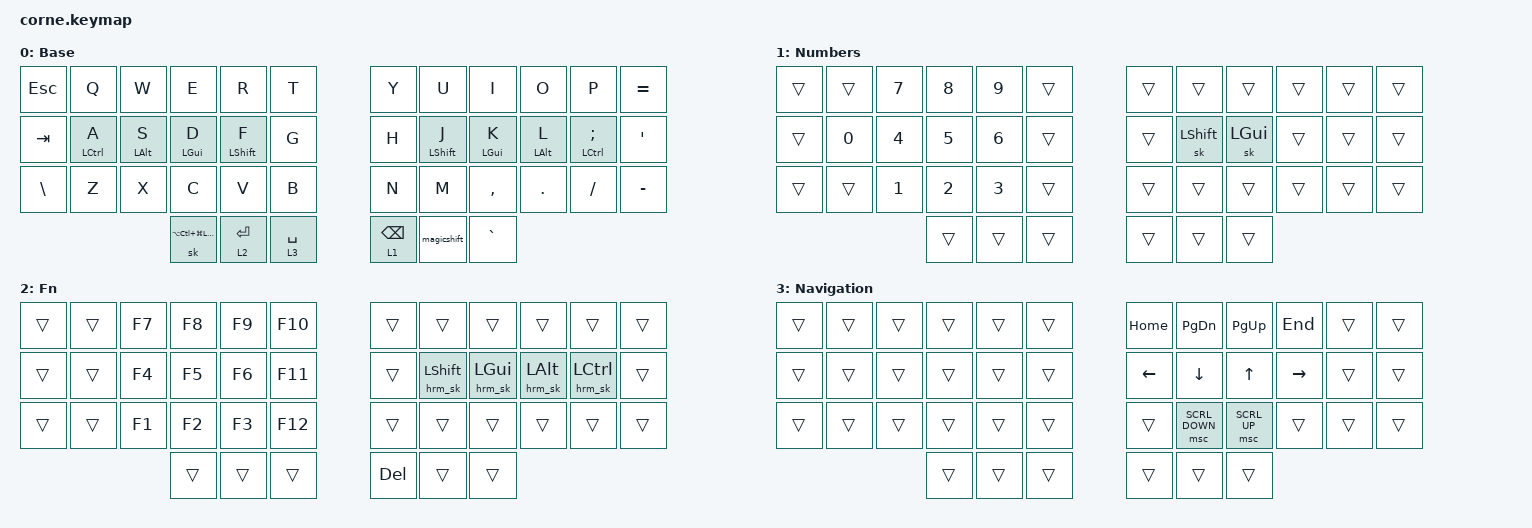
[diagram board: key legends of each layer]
/*
 * Copyright (c) 2020 The ZMK Contributors
 *
 * SPDX-License-Identifier: MIT
 */

#include <behaviors.dtsi>
#include <dt-bindings/zmk/keys.h>
#include <dt-bindings/zmk/pointing.h>

/ {
    behaviors {
        hrl: hrl {
            compatible = "zmk,behavior-hold-tap";
            label = "HRL";
            bindings = <&kp>, <&kp>;

            #binding-cells = <2>;
            tapping-term-ms = <280>;
            quick-tap-ms = <175>;
            require-prior-idle-ms = <150>;
            flavor = "balanced";
            hold-trigger-on-release;
            hold-trigger-key-positions = <39 40 41 30 18 6 7 19 31 32 20 8 9 21 33 34 22 10 11 23 35 36 37 38>;
        };

        hrr: hrr {
            compatible = "zmk,behavior-hold-tap";
            label = "HRR";
            bindings = <&kp>, <&kp>;

            #binding-cells = <2>;
            tapping-term-ms = <280>;
            quick-tap-ms = <175>;
            require-prior-idle-ms = <150>;
            flavor = "balanced";
            hold-trigger-on-release;
            hold-trigger-key-positions = <0 1 2 3 4 5 17 16 15 14 13 12 24 25 26 27 28 29 38 37 36 39 40 41>;
        };

        shiftsk: shiftsk {
            compatible = "zmk,behavior-sticky-key";
            label = "SHIFTSK";
            bindings = <&kp>;
            #binding-cells = <1>;
            quick-release;
            release-after-ms = <2000>;
            ignore-modifiers;
        };

        hrm_sk: hrm_sk {
            compatible = "zmk,behavior-sticky-key";
            label = "HRM_SK";
            bindings = <&kp>;
            #binding-cells = <1>;
            release-after-ms = <5000>;
            quick-release;
            ignore-modifiers;
        };

        magicshift: magicshift {
            compatible = "zmk,behavior-mod-morph";
            label = "MAGICSHIFT";
            bindings = <&shiftsk LEFT_SHIFT>, <&caps_word>;

            #binding-cells = <0>;
            mods = <(MOD_LCTL|MOD_LSFT|MOD_LALT|MOD_LGUI)>;
        };
    };

    combos {
        compatible = "zmk,combos";

        LeftBracket {
            bindings = <&kp LEFT_BRACKET>;
            key-positions = <31 32>;
        };

        RightBracket {
            bindings = <&kp RIGHT_BRACKET>;
            key-positions = <32 33>;
        };

        LeftParen {
            bindings = <&kp LEFT_PARENTHESIS>;
            key-positions = <19 20>;
        };

        RightParen {
            bindings = <&kp RIGHT_PARENTHESIS>;
            key-positions = <20 21>;
        };

        Copy {
            bindings = <&kp LG(C)>;
            key-positions = <26 27>;
        };

        Paste {
            bindings = <&kp LG(V)>;
            key-positions = <27 28>;
        };

        Cut {
            bindings = <&kp LG(X)>;
            key-positions = <26 28>;
        };

        Hash {
            bindings = <&kp HASH>;
            key-positions = <3 15>;
        };

        Percent {
            bindings = <&kp PERCENT>;
            key-positions = <5 17>;
        };

        Dollar {
            bindings = <&kp DOLLAR>;
            key-positions = <4 16>;
        };
    };

    keymap {
        compatible = "zmk,keymap";

        default_layer {
            // -----------------------------------------------------------------------------------------
            // |  TAB |  Q  |  W  |  E  |  R  |  T  |   |  Y  |  U   |  I  |  O  |  P  | BKSP |
            // | CTRL |  A  |  S  |  D  |  F  |  G  |   |  H  |  J   |  K  |  L  |  ;  |  '   |
            // | SHFT |  Z  |  X  |  C  |  V  |  B  |   |  N  |  M   |  ,  |  .  |  /  | ESC  |
            //                    | GUI | LWR | SPC |   | ENT | RSE  | ALT |

            display-name = "Base";
            bindings = <
&kp ESCAPE     &kp Q         &kp W            &kp E                       &kp R              &kp T          &kp Y            &kp U              &kp I            &kp O            &kp P                   &kp EQUAL
&kp TAB        &hrl LCTRL A  &hrl LEFT_ALT S  &hrl LEFT_GUI D             &hrl LEFT_SHIFT F  &kp G          &kp H            &hrr LEFT_SHIFT J  &hrr LEFT_GUI K  &hrr LEFT_ALT L  &hrr LEFT_CONTROL SEMI  &kp SQT
&kp BACKSLASH  &kp Z         &kp X            &kp C                       &kp V              &kp B          &kp N            &kp M              &kp COMMA        &kp DOT          &kp FSLH                &kp MINUS
                                              &sk LA(LC(LG(LEFT_SHIFT)))  &lt 2 RETURN       &lt 3 SPACE    &lt 1 BACKSPACE  &magicshift        &kp GRAVE
            >;
        };

        Numbers {
            bindings = <
&trans  &trans  &kp N7  &kp N8  &kp N9  &trans    &trans  &trans          &trans        &trans  &trans  &trans
&trans  &kp N0  &kp N4  &kp N5  &kp N6  &trans    &trans  &sk LEFT_SHIFT  &sk LEFT_GUI  &trans  &trans  &trans
&trans  &trans  &kp N1  &kp N2  &kp N3  &trans    &trans  &trans          &trans        &trans  &trans  &trans
                        &trans  &trans  &trans    &trans  &trans          &trans
            >;
        };

        Fn {
            bindings = <
&trans  &trans  &kp F7  &kp F8  &kp F9  &kp F10    &trans      &trans              &trans            &trans            &trans         &trans
&trans  &trans  &kp F4  &kp F5  &kp F6  &kp F11    &trans      &hrm_sk LEFT_SHIFT  &hrm_sk LEFT_GUI  &hrm_sk LEFT_ALT  &hrm_sk LCTRL  &trans
&trans  &trans  &kp F1  &kp F2  &kp F3  &kp F12    &trans      &trans              &trans            &trans            &trans         &trans
                        &trans  &trans  &trans     &kp DELETE  &trans              &trans
            >;
        };

        Navigation {
            bindings = <
&trans  &trans  &trans  &trans  &trans  &trans    &kp HOME  &kp PAGE_DOWN   &kp PAGE_UP   &kp END    &trans  &trans
&trans  &trans  &trans  &trans  &trans  &trans    &kp LEFT  &kp DOWN_ARROW  &kp UP_ARROW  &kp RIGHT  &trans  &trans
&trans  &trans  &trans  &trans  &trans  &trans    &trans    &msc SCRL_DOWN  &msc SCRL_UP  &trans     &trans  &trans
                        &trans  &trans  &trans    &trans    &trans          &trans
            >;
        };
    };
};
